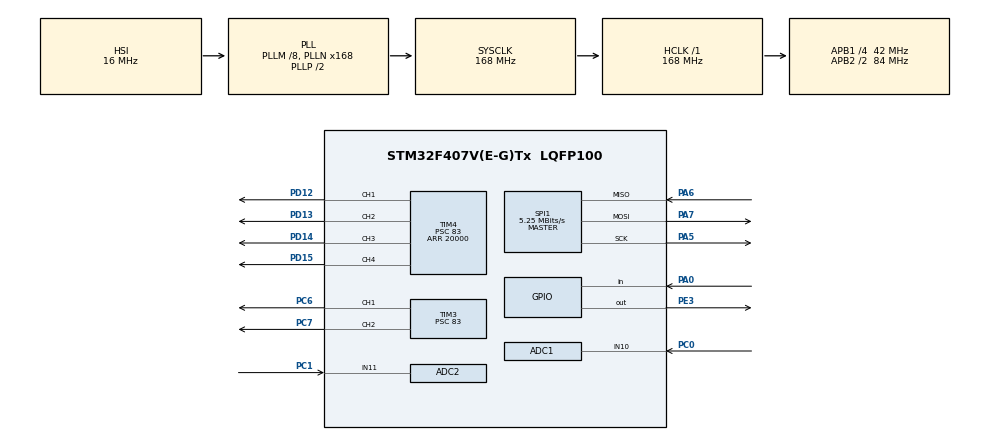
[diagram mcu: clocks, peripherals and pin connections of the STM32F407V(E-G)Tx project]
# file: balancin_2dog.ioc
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ADC1.Channel-0\#ChannelRegularConversion=ADC_CHANNEL_10
ADC1.NbrOfConversionFlag=1
ADC1.Rank-0\#ChannelRegularConversion=1
ADC1.SamplingTime-0\#ChannelRegularConversion=ADC_SAMPLETIME_3CYCLES
ADC1.master=1
ADC2.Channel-0\#ChannelRegularConversion=ADC_CHANNEL_11
ADC2.NbrOfConversionFlag=1
ADC2.Rank-0\#ChannelRegularConversion=1
ADC2.SamplingTime-0\#ChannelRegularConversion=ADC_SAMPLETIME_3CYCLES
Mcu.Family=STM32F4
Mcu.Name=STM32F407V(E-G)Tx
Mcu.Package=LQFP100
NVIC.PriorityGroup=NVIC_PRIORITYGROUP_0
NVIC.TIM1_UP_TIM10_IRQn=true\:0\:0\:false\:false\:true\:false\:true
NVIC.TimeBase=TIM1_UP_TIM10_IRQn
NVIC.TimeBaseIP=TIM1
PA0-WKUP.Signal=GPIO_Input
PA5.Mode=Full_Duplex_Master
PA5.Signal=SPI1_SCK
PA6.Mode=Full_Duplex_Master
PA6.Signal=SPI1_MISO
PA7.Mode=Full_Duplex_Master
PA7.Signal=SPI1_MOSI
PC0.Signal=ADCx_IN10
PC1.Signal=ADCx_IN11
PC6.Signal=S_TIM3_CH1
PC7.Signal=S_TIM3_CH2
PD12.Signal=S_TIM4_CH1
PD13.Signal=S_TIM4_CH2
PD14.Signal=S_TIM4_CH3
PD15.Signal=S_TIM4_CH4
PE3.Signal=GPIO_Output
ProjectManager.HeapSize=0x200
ProjectManager.StackSize=0x400
ProjectManager.TargetToolchain=STM32CubeIDE
RCC.48MHZClocksFreq_Value=48000000
RCC.AHBFreq_Value=168000000
RCC.APB1CLKDivider=RCC_HCLK_DIV4
RCC.APB1Freq_Value=42000000
RCC.APB1TimFreq_Value=84000000
RCC.APB2CLKDivider=RCC_HCLK_DIV2
RCC.APB2Freq_Value=84000000
RCC.APB2TimFreq_Value=168000000
RCC.CortexFreq_Value=168000000
RCC.HCLKFreq_Value=168000000
RCC.HSE_VALUE=8000000
RCC.HSI_VALUE=16000000
RCC.LSE_VALUE=32768
RCC.PLLM=8
RCC.PLLN=168
RCC.PLLQ=7
RCC.SYSCLKFreq_VALUE=168000000
RCC.SYSCLKSource=RCC_SYSCLKSOURCE_PLLCLK
RCC.VCOOutputFreq_Value=336000000
SH.ADCx_IN10.0=ADC1_IN10,IN10
SH.ADCx_IN11.0=ADC2_IN11,IN11
SH.S_TIM3_CH1.0=TIM3_CH1,PWM Generation1 CH1
SH.S_TIM3_CH2.0=TIM3_CH2,PWM Generation2 CH2
SH.S_TIM4_CH1.0=TIM4_CH1,PWM Generation1 CH1
SH.S_TIM4_CH2.0=TIM4_CH2,PWM Generation2 CH2
SH.S_TIM4_CH3.0=TIM4_CH3,PWM Generation3 CH3
SH.S_TIM4_CH4.0=TIM4_CH4,PWM Generation4 CH4
SPI1.BaudRatePrescaler=SPI_BAUDRATEPRESCALER_16
SPI1.CalculateBaudRate=5.25 MBits/s
SPI1.Direction=SPI_DIRECTION_2LINES
SPI1.Mode=SPI_MODE_MASTER
SPI1.VirtualType=VM_MASTER
TIM3.Channel-PWM\ Generation1\ CH1=TIM_CHANNEL_1
TIM3.Channel-PWM\ Generation2\ CH2=TIM_CHANNEL_2
TIM3.Period=20000
TIM3.Prescaler=83
TIM4.Channel-PWM\ Generation1\ CH1=TIM_CHANNEL_1
TIM4.Channel-PWM\ Generation2\ CH2=TIM_CHANNEL_2
TIM4.Channel-PWM\ Generation3\ CH3=TIM_CHANNEL_3
TIM4.Channel-PWM\ Generation4\ CH4=TIM_CHANNEL_4
TIM4.Period=20000
TIM4.Prescaler=83
VP_SYS_VS_tim1.Mode=TIM1
VP_TIM3_VS_ClockSourceINT.Mode=Internal
VP_TIM4_VS_ClockSourceINT.Mode=Internal
board=STM32F407G-DISC1

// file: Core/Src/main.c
/* USER CODE BEGIN Header */
/**
  ******************************************************************************
  * @file           : main.c
  * @brief          : Main program body
  ******************************************************************************
  * @attention
  *
  * <h2><center>&copy; Copyright (c) 2021 STMicroelectronics.
  * All rights reserved.</center></h2>
  *
  * This software component is licensed by ST under BSD 3-Clause license,
  * the "License"; You may not use this file except in compliance with the
  * License. You may obtain a copy of the License at:
  *                        opensource.org/licenses/BSD-3-Clause
  *
  ******************************************************************************
  */
/* USER CODE END Header */
#include "main.h"

ADC_HandleTypeDef hadc1;
ADC_HandleTypeDef hadc2;

SPI_HandleTypeDef hspi1;

TIM_HandleTypeDef htim3;
TIM_HandleTypeDef htim4;

/* USER CODE BEGIN PV */
volatile int mode = 1;
int16_t T_lights = 20000;
int16_t angle_x;
int16_t angle_y;
int16_t lights_x;
int16_t lights_y;
int positive = 0;
int16_t adcval_x;
int16_t adcval_y;
uint8_t spiTxBuf[2];
uint8_t spiRxBuf[5];
volatile int16_t accel_x;
volatile int16_t accel_y;
/* USER CODE END PV */

void SystemClock_Config(void);
static void MX_GPIO_Init(void);
static void MX_ADC1_Init(void);
static void MX_SPI1_Init(void);
static void MX_ADC2_Init(void);
static void MX_TIM3_Init(void);
static void MX_TIM4_Init(void);

/* USER CODE BEGIN 0 */
	/*void HAL_GPIO_EXTI_Callback(uint16_t GPIO_Pin)
	{
		if(GPIO_Pin == GPIO_PIN_0)
		{
			mode = !mode;
			uint32_t tickstart = HAL_GetTick();
			while(HAL_GetTick() - tickstart <= 300) continue;
		}
	}*/

	// return (x - in_min) * (out_max - out_min) / (in_max - in_min) + out_min;
	/*int16_t map_acc(int16_t accel_x)
	{
		if (accel_x > 16384) return 2500;
		else if (accel_x < -16384) return 600;
		else if(accel_x < 300 && accel_x > -300) return 1550;
		return (accel_x - (-18384)) * (2500 - 600) / (16284 - (-16384)) + 600;
	}

	int16_t map_adc(int16_t adc)
	{
		return (adc - 0) * (2500 - 600) / (4096 - 0) + 600;
	}
	*/
	int16_t map_acc(int16_t accel)
		{
			if (accel > 16384) return T_lights;
			else if (accel < -16384) return -T_lights;
			else if(accel < 300 && accel > -300) return 0;
			return (accel - (-16384)) * (T_lights - (-T_lights)) / (16384 - (-16384)) - T_lights;
		}

		int16_t map_adc(int16_t adc)
		{
			return (adc - 0) * (T_lights - (-T_lights)) / (4096 - 0) - T_lights;
		}

	int16_t map_angle(int16_t light)
	{
		if(light >= 0)
			return (light - 0) * (2550 - 1525) / (T_lights - 0) + 1525;
		else
			return (light - (-T_lights)) * (1525 - 500) / (0 - (-T_lights)) + 500;
	}
/* USER CODE END 0 */

int main(void)
{

  /* MCU Configuration--------------------------------------------------------*/

  /* Reset of all peripherals, Initializes the Flash interface and the Systick. */
   HAL_Init();

  /* Configure the system clock */
  SystemClock_Config();

  /* Initialize all configured peripherals */
  MX_GPIO_Init();
  MX_ADC1_Init();
  MX_SPI1_Init();
  MX_ADC2_Init();
  MX_TIM3_Init();
  MX_TIM4_Init();
  /* USER CODE BEGIN 2 */
  HAL_TIM_PWM_Start(&htim3, TIM_CHANNEL_1);
  HAL_TIM_PWM_Start(&htim3, TIM_CHANNEL_2);
  HAL_TIM_PWM_Start(&htim4, TIM_CHANNEL_1);
  HAL_TIM_PWM_Start(&htim4, TIM_CHANNEL_2);
  HAL_TIM_PWM_Start(&htim4, TIM_CHANNEL_3);
  HAL_TIM_PWM_Start(&htim4, TIM_CHANNEL_4);
  HAL_GPIO_WritePin(GPIOE,GPIO_PIN_3,GPIO_PIN_SET); //Aseguro que no haya comunicación antes
  HAL_Delay(20);

  // Activación de los registros para la lectura de datos
  HAL_GPIO_WritePin(GPIOE,GPIO_PIN_3,GPIO_PIN_RESET); //Comienzo la transmisión de datos por SPI
  HAL_Delay(20);
  spiTxBuf[0]=0x20; //Accedo al registro 0x20 (Control Regist 4)
  spiTxBuf[1]=0x67; //Activo los elementos 0x67 (en decimal = 103; binario = 0110_0111) Para q los outputs vayan a 100Hz de tasa de refresco
  HAL_SPI_Transmit(&hspi1,spiTxBuf,2,50);
  HAL_GPIO_WritePin(GPIOE,GPIO_PIN_3,GPIO_PIN_SET); //Fin de la transmisión de datos por SPI
  HAL_Delay(20);
  /* USER CODE END 2 */

  /* Infinite loop */
  while (1)
  {

    /* USER CODE BEGIN 3 */
	  if(HAL_GPIO_ReadPin(GPIOA, GPIO_PIN_0) == 1)
	  {
		  mode = !mode;
		  uint32_t tickstart = HAL_GetTick();
		  while(HAL_GetTick() - tickstart <= 300) continue;
	  }
	  if(mode)
	  {
		  HAL_GPIO_WritePin(GPIOE,GPIO_PIN_3,GPIO_PIN_RESET);
		  spiTxBuf[0]=0x28|0x80;
		  HAL_SPI_Transmit(&hspi1,spiTxBuf,1,50);
		  HAL_SPI_Receive(&hspi1,&spiRxBuf[1],1,50);
		  HAL_GPIO_WritePin(GPIOE,GPIO_PIN_3,GPIO_PIN_SET);

		  HAL_GPIO_WritePin(GPIOE,GPIO_PIN_3,GPIO_PIN_RESET);
		  spiTxBuf[0]=0x29|0x80;
		  HAL_SPI_Transmit(&hspi1,spiTxBuf,1,50);
		  HAL_SPI_Receive(&hspi1,&spiRxBuf[2],1,50);
		  HAL_GPIO_WritePin(GPIOE,GPIO_PIN_3,GPIO_PIN_SET);

		  HAL_GPIO_WritePin(GPIOE,GPIO_PIN_3,GPIO_PIN_RESET);
		  spiTxBuf[0]=0x2a|0x80;
		  HAL_SPI_Transmit(&hspi1,spiTxBuf,1,50);
		  HAL_SPI_Receive(&hspi1,&spiRxBuf[3],1,50);
		  HAL_GPIO_WritePin(GPIOE,GPIO_PIN_3,GPIO_PIN_SET);

		  HAL_GPIO_WritePin(GPIOE,GPIO_PIN_3,GPIO_PIN_RESET);
		  spiTxBuf[0]=0x2b|0x80;
		  HAL_SPI_Transmit(&hspi1,spiTxBuf,1,50);
		  HAL_SPI_Receive(&hspi1,&spiRxBuf[4],1,50);
		  HAL_GPIO_WritePin(GPIOE,GPIO_PIN_3,GPIO_PIN_SET);

		  // Carga de los datos del buffer a las variables
		  accel_x = (spiRxBuf[2]<<8)|spiRxBuf[1];
		  accel_y = (spiRxBuf[4]<<8)|spiRxBuf[3];

		  lights_x = map_acc(accel_x);
		  lights_y = map_acc(accel_y);
	  }
	  else
	  {
		  HAL_ADC_Start(&hadc1);
		  if(HAL_ADC_PollForConversion(&hadc1, 100)==HAL_OK)
			  adcval_x = HAL_ADC_GetValue(&hadc1);
		  HAL_ADC_Stop(&hadc1);

		  HAL_ADC_Start(&hadc2);
		  if(HAL_ADC_PollForConversion(&hadc2, 100)==HAL_OK)
			  adcval_y = HAL_ADC_GetValue(&hadc2);
		  HAL_ADC_Stop(&hadc2);

		  lights_x = map_adc(adcval_x);
		  lights_y = map_adc(adcval_y);
	  }
	  angle_x = map_angle(lights_x);
	  angle_y = map_angle(lights_y);

	  __HAL_TIM_SET_COMPARE(&htim3, TIM_CHANNEL_1, angle_x);
	  __HAL_TIM_SET_COMPARE(&htim3, TIM_CHANNEL_2, angle_y);

	  if(lights_x >= 0){
		  __HAL_TIM_SET_COMPARE(&htim4, TIM_CHANNEL_1, lights_x);
		  __HAL_TIM_SET_COMPARE(&htim4, TIM_CHANNEL_3, 0);}

	  else{
		  __HAL_TIM_SET_COMPARE(&htim4, TIM_CHANNEL_1, 0);
		  __HAL_TIM_SET_COMPARE(&htim4, TIM_CHANNEL_3, -lights_x);}

	  if(lights_y >= 0){
		  __HAL_TIM_SET_COMPARE(&htim4, TIM_CHANNEL_2, lights_y);
		  __HAL_TIM_SET_COMPARE(&htim4, TIM_CHANNEL_4, 0);}

	  else{
		  __HAL_TIM_SET_COMPARE(&htim4, TIM_CHANNEL_2, 0);
		  __HAL_TIM_SET_COMPARE(&htim4, TIM_CHANNEL_4, -lights_y);}
  }
  /* USER CODE END 3 */
}

void SystemClock_Config(void)
{
  RCC_OscInitTypeDef RCC_OscInitStruct = {0};
  RCC_ClkInitTypeDef RCC_ClkInitStruct = {0};

  /** Configure the main internal regulator output voltage
  */
  __HAL_RCC_PWR_CLK_ENABLE();
  __HAL_PWR_VOLTAGESCALING_CONFIG(PWR_REGULATOR_VOLTAGE_SCALE1);
  /** Initializes the RCC Oscillators according to the specified parameters
  * in the RCC_OscInitTypeDef structure.
  */
  RCC_OscInitStruct.OscillatorType = RCC_OSCILLATORTYPE_HSI;
  RCC_OscInitStruct.HSIState = RCC_HSI_ON;
  RCC_OscInitStruct.HSICalibrationValue = RCC_HSICALIBRATION_DEFAULT;
  RCC_OscInitStruct.PLL.PLLState = RCC_PLL_ON;
  RCC_OscInitStruct.PLL.PLLSource = RCC_PLLSOURCE_HSI;
  RCC_OscInitStruct.PLL.PLLM = 8;
  RCC_OscInitStruct.PLL.PLLN = 168;
  RCC_OscInitStruct.PLL.PLLP = RCC_PLLP_DIV2;
  RCC_OscInitStruct.PLL.PLLQ = 7;
  if (HAL_RCC_OscConfig(&RCC_OscInitStruct) != HAL_OK)
  {
    Error_Handler();
  }
  /** Initializes the CPU, AHB and APB buses clocks
  */
  RCC_ClkInitStruct.ClockType = RCC_CLOCKTYPE_HCLK|RCC_CLOCKTYPE_SYSCLK
                              |RCC_CLOCKTYPE_PCLK1|RCC_CLOCKTYPE_PCLK2;
  RCC_ClkInitStruct.SYSCLKSource = RCC_SYSCLKSOURCE_PLLCLK;
  RCC_ClkInitStruct.AHBCLKDivider = RCC_SYSCLK_DIV1;
  RCC_ClkInitStruct.APB1CLKDivider = RCC_HCLK_DIV4;
  RCC_ClkInitStruct.APB2CLKDivider = RCC_HCLK_DIV2;

  if (HAL_RCC_ClockConfig(&RCC_ClkInitStruct, FLASH_LATENCY_5) != HAL_OK)
  {
    Error_Handler();
  }
}

static void MX_ADC1_Init(void)
{

  ADC_ChannelConfTypeDef sConfig = {0};

  /** Configure the global features of the ADC (Clock, Resolution, Data Alignment and number of conversion)
  */
  hadc1.Instance = ADC1;
  hadc1.Init.ClockPrescaler = ADC_CLOCK_SYNC_PCLK_DIV4;
  hadc1.Init.Resolution = ADC_RESOLUTION_12B;
  hadc1.Init.ScanConvMode = DISABLE;
  hadc1.Init.ContinuousConvMode = DISABLE;
  hadc1.Init.DiscontinuousConvMode = DISABLE;
  hadc1.Init.ExternalTrigConvEdge = ADC_EXTERNALTRIGCONVEDGE_NONE;
  hadc1.Init.ExternalTrigConv = ADC_SOFTWARE_START;
  hadc1.Init.DataAlign = ADC_DATAALIGN_RIGHT;
  hadc1.Init.NbrOfConversion = 1;
  hadc1.Init.DMAContinuousRequests = DISABLE;
  hadc1.Init.EOCSelection = ADC_EOC_SINGLE_CONV;
  if (HAL_ADC_Init(&hadc1) != HAL_OK)
  {
    Error_Handler();
  }
  /** Configure for the selected ADC regular channel its corresponding rank in the sequencer and its sample time.
  */
  sConfig.Channel = ADC_CHANNEL_10;
  sConfig.Rank = 1;
  sConfig.SamplingTime = ADC_SAMPLETIME_3CYCLES;
  if (HAL_ADC_ConfigChannel(&hadc1, &sConfig) != HAL_OK)
  {
    Error_Handler();
  }

}

static void MX_ADC2_Init(void)
{

  ADC_ChannelConfTypeDef sConfig = {0};

  /** Configure the global features of the ADC (Clock, Resolution, Data Alignment and number of conversion)
  */
  hadc2.Instance = ADC2;
  hadc2.Init.ClockPrescaler = ADC_CLOCK_SYNC_PCLK_DIV4;
  hadc2.Init.Resolution = ADC_RESOLUTION_12B;
  hadc2.Init.ScanConvMode = DISABLE;
  hadc2.Init.ContinuousConvMode = DISABLE;
  hadc2.Init.DiscontinuousConvMode = DISABLE;
  hadc2.Init.ExternalTrigConvEdge = ADC_EXTERNALTRIGCONVEDGE_NONE;
  hadc2.Init.ExternalTrigConv = ADC_SOFTWARE_START;
  hadc2.Init.DataAlign = ADC_DATAALIGN_RIGHT;
  hadc2.Init.NbrOfConversion = 1;
  hadc2.Init.DMAContinuousRequests = DISABLE;
  hadc2.Init.EOCSelection = ADC_EOC_SINGLE_CONV;
  if (HAL_ADC_Init(&hadc2) != HAL_OK)
  {
    Error_Handler();
  }
  /** Configure for the selected ADC regular channel its corresponding rank in the sequencer and its sample time.
  */
  sConfig.Channel = ADC_CHANNEL_11;
  sConfig.Rank = 1;
  sConfig.SamplingTime = ADC_SAMPLETIME_3CYCLES;
  if (HAL_ADC_ConfigChannel(&hadc2, &sConfig) != HAL_OK)
  {
    Error_Handler();
  }

}

static void MX_SPI1_Init(void)
{

  /* SPI1 parameter configuration*/
  hspi1.Instance = SPI1;
  hspi1.Init.Mode = SPI_MODE_MASTER;
  hspi1.Init.Direction = SPI_DIRECTION_2LINES;
  hspi1.Init.DataSize = SPI_DATASIZE_8BIT;
  hspi1.Init.CLKPolarity = SPI_POLARITY_LOW;
  hspi1.Init.CLKPhase = SPI_PHASE_1EDGE;
  hspi1.Init.NSS = SPI_NSS_SOFT;
  hspi1.Init.BaudRatePrescaler = SPI_BAUDRATEPRESCALER_16;
  hspi1.Init.FirstBit = SPI_FIRSTBIT_MSB;
  hspi1.Init.TIMode = SPI_TIMODE_DISABLE;
  hspi1.Init.CRCCalculation = SPI_CRCCALCULATION_DISABLE;
  hspi1.Init.CRCPolynomial = 10;
  if (HAL_SPI_Init(&hspi1) != HAL_OK)
  {
    Error_Handler();
  }

}

static void MX_TIM3_Init(void)
{

  TIM_ClockConfigTypeDef sClockSourceConfig = {0};
  TIM_MasterConfigTypeDef sMasterConfig = {0};
  TIM_OC_InitTypeDef sConfigOC = {0};

  htim3.Instance = TIM3;
  htim3.Init.Prescaler = 83;
  htim3.Init.CounterMode = TIM_COUNTERMODE_UP;
  htim3.Init.Period = 20000;
  htim3.Init.ClockDivision = TIM_CLOCKDIVISION_DIV1;
  htim3.Init.AutoReloadPreload = TIM_AUTORELOAD_PRELOAD_DISABLE;
  if (HAL_TIM_Base_Init(&htim3) != HAL_OK)
  {
    Error_Handler();
  }
  sClockSourceConfig.ClockSource = TIM_CLOCKSOURCE_INTERNAL;
  if (HAL_TIM_ConfigClockSource(&htim3, &sClockSourceConfig) != HAL_OK)
  {
    Error_Handler();
  }
  if (HAL_TIM_PWM_Init(&htim3) != HAL_OK)
  {
    Error_Handler();
  }
  sMasterConfig.MasterOutputTrigger = TIM_TRGO_RESET;
  sMasterConfig.MasterSlaveMode = TIM_MASTERSLAVEMODE_DISABLE;
  if (HAL_TIMEx_MasterConfigSynchronization(&htim3, &sMasterConfig) != HAL_OK)
  {
    Error_Handler();
  }
  sConfigOC.OCMode = TIM_OCMODE_PWM1;
  sConfigOC.Pulse = 0;
  sConfigOC.OCPolarity = TIM_OCPOLARITY_HIGH;
  sConfigOC.OCFastMode = TIM_OCFAST_DISABLE;
  if (HAL_TIM_PWM_ConfigChannel(&htim3, &sConfigOC, TIM_CHANNEL_1) != HAL_OK)
  {
    Error_Handler();
  }
  if (HAL_TIM_PWM_ConfigChannel(&htim3, &sConfigOC, TIM_CHANNEL_2) != HAL_OK)
  {
    Error_Handler();
  }
  HAL_TIM_MspPostInit(&htim3);

}

static void MX_TIM4_Init(void)
{

  TIM_ClockConfigTypeDef sClockSourceConfig = {0};
  TIM_MasterConfigTypeDef sMasterConfig = {0};
  TIM_OC_InitTypeDef sConfigOC = {0};

  htim4.Instance = TIM4;
  htim4.Init.Prescaler = 83;
  htim4.Init.CounterMode = TIM_COUNTERMODE_UP;
  htim4.Init.Period = 20000;
  htim4.Init.ClockDivision = TIM_CLOCKDIVISION_DIV1;
  htim4.Init.AutoReloadPreload = TIM_AUTORELOAD_PRELOAD_DISABLE;
  if (HAL_TIM_Base_Init(&htim4) != HAL_OK)
  {
    Error_Handler();
  }
  sClockSourceConfig.ClockSource = TIM_CLOCKSOURCE_INTERNAL;
  if (HAL_TIM_ConfigClockSource(&htim4, &sClockSourceConfig) != HAL_OK)
  {
    Error_Handler();
  }
  if (HAL_TIM_PWM_Init(&htim4) != HAL_OK)
  {
    Error_Handler();
  }
  sMasterConfig.MasterOutputTrigger = TIM_TRGO_RESET;
  sMasterConfig.MasterSlaveMode = TIM_MASTERSLAVEMODE_DISABLE;
  if (HAL_TIMEx_MasterConfigSynchronization(&htim4, &sMasterConfig) != HAL_OK)
  {
    Error_Handler();
  }
  sConfigOC.OCMode = TIM_OCMODE_PWM1;
  sConfigOC.Pulse = 0;
  sConfigOC.OCPolarity = TIM_OCPOLARITY_HIGH;
  sConfigOC.OCFastMode = TIM_OCFAST_DISABLE;
  if (HAL_TIM_PWM_ConfigChannel(&htim4, &sConfigOC, TIM_CHANNEL_1) != HAL_OK)
  {
    Error_Handler();
  }
  if (HAL_TIM_PWM_ConfigChannel(&htim4, &sConfigOC, TIM_CHANNEL_2) != HAL_OK)
  {
    Error_Handler();
  }
  if (HAL_TIM_PWM_ConfigChannel(&htim4, &sConfigOC, TIM_CHANNEL_3) != HAL_OK)
  {
    Error_Handler();
  }
  if (HAL_TIM_PWM_ConfigChannel(&htim4, &sConfigOC, TIM_CHANNEL_4) != HAL_OK)
  {
    Error_Handler();
  }
  HAL_TIM_MspPostInit(&htim4);

}

static void MX_GPIO_Init(void)
{
  GPIO_InitTypeDef GPIO_InitStruct = {0};

  /* GPIO Ports Clock Enable */
  __HAL_RCC_GPIOE_CLK_ENABLE();
  __HAL_RCC_GPIOC_CLK_ENABLE();
  __HAL_RCC_GPIOA_CLK_ENABLE();
  __HAL_RCC_GPIOD_CLK_ENABLE();

  /*Configure GPIO pin Output Level */
  HAL_GPIO_WritePin(GPIOE, GPIO_PIN_3, GPIO_PIN_RESET);

  /*Configure GPIO pin : PE3 */
  GPIO_InitStruct.Pin = GPIO_PIN_3;
  GPIO_InitStruct.Mode = GPIO_MODE_OUTPUT_PP;
  GPIO_InitStruct.Pull = GPIO_NOPULL;
  GPIO_InitStruct.Speed = GPIO_SPEED_FREQ_LOW;
  HAL_GPIO_Init(GPIOE, &GPIO_InitStruct);

  /*Configure GPIO pin : PA0 */
  GPIO_InitStruct.Pin = GPIO_PIN_0;
  GPIO_InitStruct.Mode = GPIO_MODE_INPUT;
  GPIO_InitStruct.Pull = GPIO_NOPULL;
  HAL_GPIO_Init(GPIOA, &GPIO_InitStruct);

}

void HAL_TIM_PeriodElapsedCallback(TIM_HandleTypeDef *htim)
{
  if (htim->Instance == TIM1) {
    HAL_IncTick();
  }
}

void Error_Handler(void)
{
  __disable_irq();
  while (1)
  {
  }
}

/************************ (C) COPYRIGHT STMicroelectronics *****END OF FILE****/
